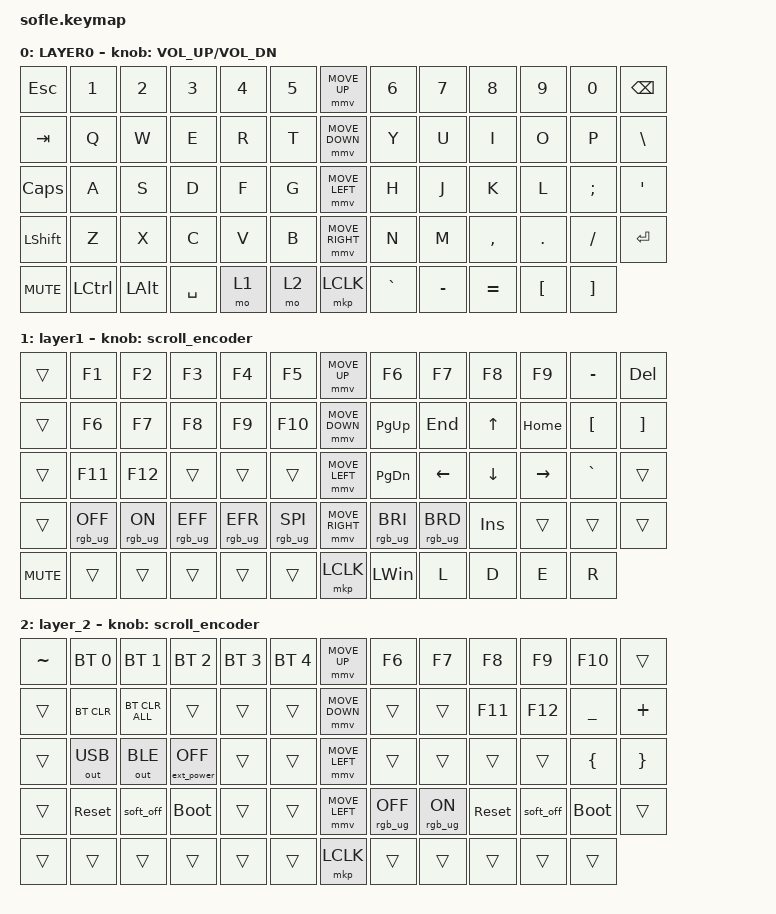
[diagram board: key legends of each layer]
#include <behaviors/mouse_keys.dtsi>
#include <behaviors.dtsi>
#include <dt-bindings/zmk/bt.h>
#include <dt-bindings/zmk/ext_power.h>
#include <dt-bindings/zmk/keys.h>
#include <dt-bindings/zmk/mouse.h>
#include <dt-bindings/zmk/outputs.h>
#include <dt-bindings/zmk/rgb.h>

#define ZMK_MOUSE_DEFAULT_MOVE_VAL 1200  // 600
#define ZMK_MOUSE_DEFAULT_SCRL_VAL 20    // 10
#define U_MS_U &mmv MOVE_UP
#define U_MS_D &mmv MOVE_DOWN
#define U_MS_L &mmv MOVE_LEFT
#define U_MS_R &mmv MOVE_RIGHT
#define ZMK_MOUSE_DEFAULT_MOVE_VAL 1200  //  600
#define ZMK_MOUSE_DEFAULT_SCRL_VAL 20    // 10

/ {
    behaviors {
        mmv {
            acceleration-exponent = <1>;      // 1
            time-to-max-speed-ms = <900>;    // 40
            delay-ms = <0>;                   // 0
        };

        msc {
            acceleration-exponent = <1>;      // 0
            time-to-max-speed-ms = <400>;      // 500
            delay-ms = <0>;                   //   10
        };
    };

    scroll_encoder: scroll_encoder {
        compatible = "zmk,behavior-sensor-rotate";
        #sensor-binding-cells = <0>;
        bindings = <&msc SCRL_DOWN>, <&msc SCRL_UP>;

        tap-ms = <30>;
    };

    keymap {
        compatible = "zmk,keymap";

        LAYER0 {
            bindings = <
&kp ESC     &kp N1     &kp N2        &kp N3     &kp N4  &kp N5    &mmv MOVE_UP     &kp N6     &kp N7     &kp N8     &kp N9            &kp N0             &kp BACKSPACE
&kp TAB     &kp Q      &kp W         &kp E      &kp R   &kp T     &mmv MOVE_DOWN   &kp Y      &kp U      &kp I      &kp O             &kp P              &kp BSLH
&kp CAPS    &kp A      &kp S         &kp D      &kp F   &kp G     &mmv MOVE_LEFT   &kp H      &kp J      &kp K      &kp L             &kp SEMI           &kp APOS
&kp LSHFT   &kp Z      &kp X         &kp C      &kp V   &kp B     &mmv MOVE_RIGHT  &kp N      &kp M      &kp COMMA  &kp DOT           &kp FSLH           &kp ENTER
&kp C_MUTE  &kp LCTRL  &kp LEFT_ALT  &kp SPACE  &mo 1   &mo 2     &mkp LCLK        &kp GRAVE  &kp MINUS  &kp EQUAL  &kp LEFT_BRACKET  &kp RIGHT_BRACKET
            >;

            sensor-bindings = <&inc_dec_kp C_VOLUME_UP C_VOL_DN>;
            display-name = "LAYER0";
        };

        layer_1 {
            bindings = <
&trans      &kp F1           &kp F2          &kp F3           &kp F4           &kp F5             &mmv MOVE_UP     &kp F6           &kp F7           &kp F8      &kp F9     &kp MINUS         &kp DEL
&trans      &kp F6           &kp F7          &kp F8           &kp F9           &kp F10            &mmv MOVE_DOWN   &kp PG_UP        &kp END          &kp UP      &kp HOME   &kp LEFT_BRACKET  &kp RIGHT_BRACKET
&trans      &kp F11          &kp F12         &trans           &trans           &trans             &mmv MOVE_LEFT   &kp PG_DN        &kp LEFT         &kp DOWN    &kp RIGHT  &kp GRAVE         &trans
&trans      &rgb_ug RGB_OFF  &rgb_ug RGB_ON  &rgb_ug RGB_EFF  &rgb_ug RGB_EFR  &rgb_ug RGB_SPI    &mmv MOVE_RIGHT  &rgb_ug RGB_BRI  &rgb_ug RGB_BRD  &kp INSERT  &trans     &trans            &trans
&kp C_MUTE  &trans           &trans          &trans           &trans           &trans             &mkp LCLK        &kp LEFT_WIN     &kp L            &kp D       &kp E      &kp R
            >;

            display-name = "layer1";
            sensor-bindings = <&scroll_encoder>;
        };

        layer_2 {
            bindings = <
&kp TILDE  &bt BT_SEL 0  &bt BT_SEL 1    &bt BT_SEL 2       &bt BT_SEL 3  &bt BT_SEL 4    &mmv MOVE_UP    &kp F6           &kp F7          &kp F8      &kp F9     &kp F10      &trans
&trans     &bt BT_CLR    &bt BT_CLR_ALL  &trans             &trans        &trans          &mmv MOVE_DOWN  &trans           &trans          &kp F11     &kp F12    &kp UNDER    &kp PLUS
&trans     &out OUT_USB  &out OUT_BLE    &ext_power EP_OFF  &trans        &trans          &mmv MOVE_LEFT  &trans           &trans          &trans      &trans     &kp LBRC     &kp RBRC
&trans     &sys_reset    &soft_off       &bootloader        &trans        &trans          &mmv MOVE_LEFT  &rgb_ug RGB_OFF  &rgb_ug RGB_ON  &sys_reset  &soft_off  &bootloader  &trans
&trans     &trans        &trans          &trans             &trans        &trans          &mkp LCLK       &trans           &trans          &trans      &trans     &trans
            >;

            sensor-bindings = <&scroll_encoder>;
        };
    };
};
